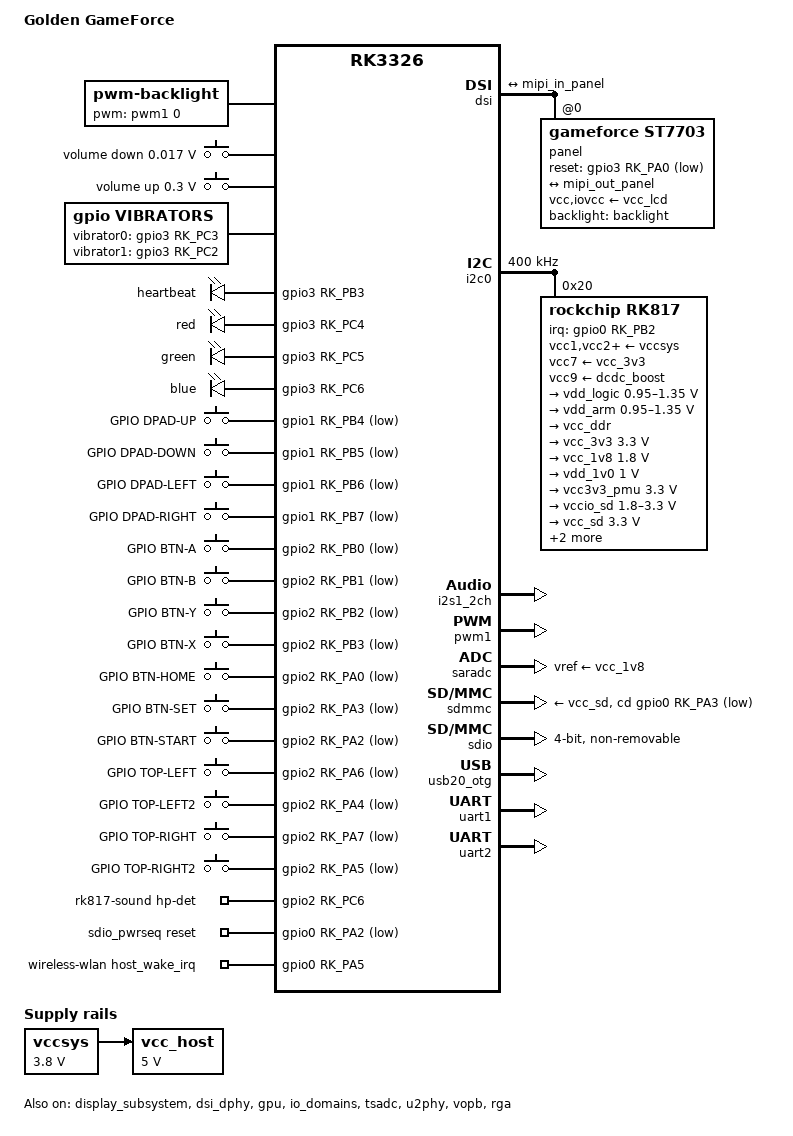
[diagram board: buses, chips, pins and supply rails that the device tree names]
// SPDX-License-Identifier: (GPL-2.0+ OR MIT)
/*
 * Copyright (c) 2020 Hardkernel Co., Ltd
 */

/dts-v1/;
#include <dt-bindings/gpio/gpio.h>
#include <dt-bindings/input/input.h>
#include <dt-bindings/pinctrl/rockchip.h>
#include "rockchip/rk3326.dtsi"

/ {
	model = "Golden GameForce";
	compatible = "rockchip,rk3326-gameforce", "rockchip,rk3326";

	chosen {
		stdout-path = "serial2:115200n8";
	};

	backlight: backlight {
		compatible = "pwm-backlight";
		pwms = <&pwm1 0 25000 0>;
	};

	adc-keys {
		compatible = "adc-keys";
		//io-channels = <&saradc 2>;
		//io-channel-names = "buttons";
		//poll-interval = <100>;
		keyup-threshold-microvolt = <1800000>;

		vol-down-key {
			linux,code = <KEY_VOLUMEDOWN>;
			label = "volume down";
			press-threshold-microvolt = <17000>;
		};

		vol-up-key {
			linux,code = <KEY_VOLUMEUP>;
			label = "volume up";
			press-threshold-microvolt = <300000>;
		};
	};

    vibrators {
            compatible = "gpio,vibrators";
			vibrator0-gpio = <&gpio3 RK_PC3 GPIO_ACTIVE_HIGH>;
			vibrator1-gpio = <&gpio3 RK_PC2 GPIO_ACTIVE_HIGH>;
            status = "okay";
    };
    
    leds: gpio_leds {
		compatible = "gpio-leds";

		pinctrl-names = "led_pins";
		pinctrl-0 = <&led_pins>;

		heartbeat {
			label = "heartbeat";
			gpios = <&gpio3 RK_PB3 GPIO_ACTIVE_HIGH>;//bluetooth GPIO3_B3
			linux,default-trigger = "heartbeat";//heartbeat, rfkill0
		};

        red {
			label = "red";
			gpios = <&gpio3 RK_PC4 GPIO_ACTIVE_HIGH>;//GPIO3_C4
            default-state = "off";
        };
        
        green {
			label = "green";
			gpios = <&gpio3 RK_PC5 GPIO_ACTIVE_HIGH>;//GPIO3_C5
            default-state = "off";
        };

        blue {
			label = "blue";
			gpios = <&gpio3 RK_PC6 GPIO_ACTIVE_HIGH>;//GPIO3_C6
            default-state = "off";
        };
	};

	gpio-keys {
        compatible = "gpio-keys";
        /*
           - gameforce-gamepad sysfs list -
		   * for poll device interval(ms)
		   /sys/devices/platform/gameforce_gamepad/poll_interval [rw]
                   * for button-adc-fuzz
		   /sys/devices/platform/gameforce_gamepad/adc_fuzz [r]
                   * for button-adc-flat
		   /sys/devices/platform/gameforce_gamepad/adc_flat [r]

		   * for report control(1:enable, 0:disable)
		   /sys/devices/platform/gameforce_gamepad/enable [rw]
		   * for adc calibration value setup(1:current adcs value -> cal value)
		   /sys/devices/platform/gameforce_gamepad/adc_cal [rw]
        */

		/* gpio pincontrol setup */
        pinctrl-names = "default";
        pinctrl-0 = <&btn_pins>;

		/* JOY_X, JOY_Y Channel define */
		io-channel-names = "joy_x", "joy_y";
		io-channels = <&saradc 0>, <&saradc 1>;

		/* adc channel count */
		button-adc-count = <2>;

		/* adc calculate scale */
		button-adc-scale = <2>;

		/* adc deadzone range  */
		button-adc-deadzone = <20>;

		/*
		    joy-stick voltage range
		    /sys/devices/platform/ff288000.saradc/iio:device0
		    adc-x : in_voltage1_raw
		    adc-y : in_voltage2_raw

		    range calculate.
		    (adc raw max value - adc raw min value) * scale * 1.7515
		*/
		button-adc-x-range = <1800>;
		button-adc-y-range = <1800>;

		/*
		  specifies fuzz value that is used to filter noise from
		  the event stream.
		*/
		button-adc-fuzz = <32>;
		button-adc-flat = <32>;

		/* poll device interval (ms), adc read interval */
		poll-interval = <10>;

		/* gpio button auto repeat set value : default disable */
		/*
			autorepeat;
		*/

		/*
		      *** ODROIDGO2-Advance Switch layoout ***
		    |------------------------------------------------|
		    | sw12-L1                        sw15-R2         |
		    |        sw13-L2                        sw14-R1  |
		    |------------------------------------------------|
		    |     sw1-UP   |-------------------|      sw8-Y  |
		    |  sw3   sw4   |                   | sw7-X  A-sw5|
		    |     sw2      |    LCD Display    |      sw6-B  |
		    |              |                   |             |
		    |              |-------------------|             |
		    |                 sw9-HOME   SET-sw10 sw11-START|
		    |------------------------------------------------|
		    */
            /*
                    joypad driver is poll-device driver.
                    poll-device is does not support wakeup-source.
		*/
                sw1 {
                        gpios = <&gpio1 RK_PB4 GPIO_ACTIVE_LOW>;
                        label = "GPIO DPAD-UP";
                        linux,code = <BTN_DPAD_UP>; // 0x220
                };
                sw2 {
                        gpios = <&gpio1 RK_PB5 GPIO_ACTIVE_LOW>;
                        label = "GPIO DPAD-DOWN";
                        linux,code = <BTN_DPAD_DOWN>; // 0x221
                };
                sw3 {
                        gpios = <&gpio1 RK_PB6 GPIO_ACTIVE_LOW>;
                        label = "GPIO DPAD-LEFT";
                        linux,code = <BTN_DPAD_LEFT>; // 0x222
                };
                sw4 {
                        gpios = <&gpio1 RK_PB7 GPIO_ACTIVE_LOW>;
                        label = "GPIO DPAD-RIGHT";
                        linux,code = <BTN_DPAD_RIGHT>; // 0x223
                };
                sw5 {
                        gpios = <&gpio2 RK_PB0 GPIO_ACTIVE_LOW>;
                        label = "GPIO BTN-A";
                        linux,code = <BTN_EAST>; // 0x131
                };
                sw6 {
                        gpios = <&gpio2 RK_PB1 GPIO_ACTIVE_LOW>;
                        label = "GPIO BTN-B";
                        linux,code = <BTN_SOUTH>; // 0x130
                };
                sw7 {
                        gpios = <&gpio2 RK_PB2 GPIO_ACTIVE_LOW>;
                        label = "GPIO BTN-Y";
                        linux,code = <BTN_WEST>; // 0x134
                };
                sw8 {
                        gpios = <&gpio2 RK_PB3 GPIO_ACTIVE_LOW>;
                        label = "GPIO BTN-X";
                        linux,code = <BTN_NORTH>; // 0x133
                };
                sw9 {
                        gpios = <&gpio2 RK_PA0 GPIO_ACTIVE_LOW>;
                        label = "GPIO BTN-HOME";
                        linux,code = <BTN_TRIGGER_HAPPY1>; // 0x2c0
                };
                sw10 {
                        gpios = <&gpio2 RK_PA3 GPIO_ACTIVE_LOW>;
                        label = "GPIO BTN-SET";
                        linux,code = <BTN_SELECT>; // 0x13a
                };
                sw11 {
                        gpios = <&gpio2 RK_PA2 GPIO_ACTIVE_LOW>;
                        label = "GPIO BTN-START";
                        linux,code = <BTN_START>; // 0x13b
                };
                sw12 {
                        gpios = <&gpio2 RK_PA6 GPIO_ACTIVE_LOW>;
                        label = "GPIO TOP-LEFT";
                        linux,code = <BTN_TL>;// 0x136
                };
                sw13 {
                        gpios = <&gpio2 RK_PA4 GPIO_ACTIVE_LOW>;
                        label = "GPIO TOP-LEFT2";
                        linux,code = <BTN_TL2>;// 0x138
                };
                sw14 {
                        gpios = <&gpio2 RK_PA7 GPIO_ACTIVE_LOW>;
                        label = "GPIO TOP-RIGHT";
                        linux,code = <BTN_TR>;// 0x137
                };
                sw15 {
                        gpios = <&gpio2 RK_PA5 GPIO_ACTIVE_LOW>;
                        label = "GPIO TOP-RIGHT2";
                        linux,code = <BTN_TR2>;// 0x139
                };
        };


	charge-animation {
		compatible = "rockchip,uboot-charge";
		rockchip,uboot-charge-on = <1>;
		rockchip,android-charge-on = <0>;
		rockchip,uboot-low-power-voltage = <3500>;
		rockchip,screen-on-voltage = <3600>;
		status = "okay";
	};

	rk817-sound {
		status = "okay";
		compatible = "simple-audio-card";
		simple-audio-card,name = "Analog";
		simple-audio-card,format = "i2s";
		simple-audio-card,mclk-fs = <256>;
		simple-audio-card,widgets =
			"Microphone", "Mic Jack",
			"Headphone", "Headphones",
			"Speaker", "Speaker";
		simple-audio-card,routing =
			"MICL", "Mic Jack",
			"Headphones", "HPOL",
			"Headphones", "HPOR",
			"Speaker", "SPKO";
		simple-audio-card,hp-det-gpio = <&gpio2 RK_PC6 GPIO_ACTIVE_HIGH>;

		simple-audio-card,cpu {
			sound-dai = <&i2s1_2ch>;
		};
		simple-audio-card,codec {
			sound-dai = <&rk817>;
		};
	};

/*
	rk_headset {
		compatible = "rockchip_headset";
		headset_gpio = <&gpio2 RK_PC6 GPIO_ACTIVE_LOW>;
		pinctrl-names = "default";
		pinctrl-0 = <&hp_det>;
	};
*/
	sdio_pwrseq: sdio-pwrseq {
		compatible = "mmc-pwrseq-simple";
		/*clocks = <&rk817 1>;*/
		/*clock-names = "ext_clock";*/
		pinctrl-names = "default";
		pinctrl-0 = <&wifi_enable_h>;

		/*
		 * On the module itself this is one of these (depending
		 * on the actual card populated):
		 * - SDIO_RESET_L_WL_REG_ON
		 * - PDN (power down when low)
		 */
		reset-gpios = <&gpio0 RK_PA2 GPIO_ACTIVE_LOW>; /* GPIO3_A4 */
	};

	vccsys: vccsys {
		compatible = "regulator-fixed";
		regulator-name = "vcc3v8_sys";
		regulator-always-on;
		regulator-min-microvolt = <3800000>;
		regulator-max-microvolt = <3800000>;
	};

	vcc_host: vcc_host {
		compatible = "regulator-fixed";
		regulator-name = "vcc_host";
		regulator-min-microvolt = <5000000>;
		regulator-max-microvolt = <5000000>;

		//gpio = <&gpio0 RK_PB7 GPIO_ACTIVE_HIGH>;
		enable-active-high;
		regulator-always-on;
		vin-supply = <&vccsys>;
	};

	wireless-wlan {
		compatible = "wlan-platdata";
                rockchip,grf = <&grf>;
		wifi_chip_type = "rtl8723ds";
		WIFI,host_wake_irq = <&gpio0 RK_PA5 GPIO_ACTIVE_HIGH>;
                sdio_vref = <3300>; //1800mv or 3300mv
		status = "okay";
	};

	/* TODO
	wireless-bluetooth {
		compatible = "bluetooth-platdata";
		clocks = <&rk817 1>;
		clock-names = "ext_clock";
		uart_rts_gpios = <&gpio1 RK_PC3 GPIO_ACTIVE_LOW>;
		pinctrl-names = "default","rts_gpio";
		pinctrl-0 = <&uart1_rts>;
		pinctrl-1 = <&uart1_rts_gpio>;
		BT,reset_gpio = <&gpio0 RK_PA0 GPIO_ACTIVE_HIGH>;
		BT,wake_gpio = <&gpio0 RK_PA1 GPIO_ACTIVE_HIGH>;
		BT,wake_host_irq = <&gpio0 RK_PA7 GPIO_ACTIVE_HIGH>;
		status = "okay";
	};*/
};

&cpu0 {
	cpu-supply = <&vdd_arm>;
};

&cpu1 {
	cpu-supply = <&vdd_arm>;
};

&cpu2 {
	cpu-supply = <&vdd_arm>;
};

&cpu3 {
	cpu-supply = <&vdd_arm>;
};

&cru {
	assigned-clocks = <&cru PLL_NPLL>,
		<&cru ACLK_BUS_PRE>, <&cru ACLK_PERI_PRE>,
		<&cru HCLK_BUS_PRE>, <&cru HCLK_PERI_PRE>,
		<&cru PCLK_BUS_PRE>, <&cru SCLK_GPU>,
		<&cru PLL_CPLL>;

	assigned-clock-rates = <1188000000>,
		<200000000>, <200000000>,
		<150000000>, <150000000>,
		<100000000>, <200000000>,
		<17000000>;
};

&display_subsystem {
	status = "okay";
};

&dsi {
	status = "okay";

	ports {
		mipi_out: port@1 {
			reg = <1>;

			mipi_out_panel: endpoint {
				remote-endpoint = <&mipi_in_panel>;
			};
		};
	};

	panel@0 {
		compatible = "gameforce,st7703";
		reg = <0>;
		backlight = <&backlight>;
		vcc-supply = <&vcc_lcd>;
		iovcc-supply = <&vcc_lcd>;
		reset-gpios = <&gpio3 RK_PA0 GPIO_ACTIVE_LOW>;//LCD_RST
		rotation = <0>;
		port {
			mipi_in_panel: endpoint {
				remote-endpoint = <&mipi_out_panel>;
			};
		};
	};
};

&dsi_dphy {
	status = "okay";
};

&gpu {
	mali-supply = <&vdd_logic>;
	status = "okay";
};

&i2c0 {
	clock-frequency = <400000>;
	i2c-scl-falling-time-ns = <16>;
	i2c-scl-rising-time-ns = <280>;
	status = "okay";

	rk817: pmic@20 {
		compatible = "rockchip,rk817";
		reg = <0x20>;
		interrupt-parent = <&gpio0>;
		interrupts = <RK_PB2 IRQ_TYPE_LEVEL_LOW>;
		clock-names = "mclk";
		clocks = <&cru SCLK_I2S1_OUT>;
		pinctrl-names = "default", "pmic-sleep",
				"pmic-power-off", "pmic-reset";
		pinctrl-0 = <&pmic_int>, <&i2s1_2ch_mclk>;
		pinctrl-1 = <&soc_slppin_slp>, <&rk817_slppin_slp>;
		pinctrl-2 = <&soc_slppin_gpio>, <&rk817_slppin_pwrdn>;
		pinctrl-3 = <&soc_slppin_rst>, <&rk817_slppin_rst>;
		rockchip,system-power-controller;
		wakeup-source;
		#clock-cells = <1>;
		clock-output-names = "rk808-clkout1", "rk808-clkout2";
		//fb-inner-reg-idxs = <2>;

		/* 1: rst regs (default in codes), 0: rst the pmic */
		pmic-reset-func = <1>;
		#sound-dai-cells = <0>;

		vcc1-supply = <&vccsys>;
		vcc2-supply = <&vccsys>;
		vcc3-supply = <&vccsys>;
		vcc4-supply = <&vccsys>;
		vcc5-supply = <&vccsys>;
		vcc6-supply = <&vccsys>;
		vcc7-supply = <&vcc_3v3>;
		vcc8-supply = <&vccsys>;
		vcc9-supply = <&dcdc_boost>;

		pwrkey {
			status = "okay";
		};

		pinctrl_rk8xx: pinctrl_rk8xx {
			gpio-controller;
			#gpio-cells = <2>;

			rk817_ts_gpio1: rk817_ts_gpio1 {
				pins = "gpio_ts";
				function = "pin_fun1";
				// output-low;
				// input-enable;
			};

			rk817_gt_gpio2: rk817_gt_gpio2 {
				pins = "gpio_gt";
				function = "pin_fun1";
			};

			rk817_pin_ts: rk817_pin_ts {
				pins = "gpio_ts";
				function = "pin_fun0";
			};

			rk817_pin_gt: rk817_pin_gt {
				pins = "gpio_gt";
				function = "pin_fun0";
			};

			rk817_slppin_null: rk817_slppin_null {
				pins = "gpio_slp";
				function = "pin_fun0";
			};

			rk817_slppin_slp: rk817_slppin_slp {
				pins = "gpio_slp";
				function = "pin_fun1";
			};

			rk817_slppin_pwrdn: rk817_slppin_pwrdn {
				pins = "gpio_slp";
				function = "pin_fun2";
			};

			rk817_slppin_rst: rk817_slppin_rst {
				pins = "gpio_slp";
				function = "pin_fun3";
			};
		};

		regulators {
			vdd_logic: DCDC_REG1 {
				regulator-name = "vdd_logic";
				regulator-min-microvolt = <950000>;
				regulator-max-microvolt = <1350000>;
				regulator-ramp-delay = <6001>;
				regulator-always-on;
				regulator-boot-on;

				regulator-state-mem {
					regulator-on-in-suspend;
					regulator-suspend-microvolt = <950000>;
				};
			};

			vdd_arm: DCDC_REG2 {
				regulator-name = "vdd_arm";
				regulator-min-microvolt = <950000>;
				regulator-max-microvolt = <1350000>;
				regulator-ramp-delay = <6001>;
				regulator-always-on;
				regulator-boot-on;

				regulator-state-mem {
					regulator-off-in-suspend;
					regulator-suspend-microvolt = <950000>;
				};
			};

			vcc_ddr: DCDC_REG3 {
				regulator-name = "vcc_ddr";
				regulator-always-on;
				regulator-boot-on;

				regulator-state-mem {
					regulator-on-in-suspend;
				};
			};

			vcc_3v3: DCDC_REG4 {
				regulator-name = "vcc_3v3";
				regulator-min-microvolt = <3300000>;
				regulator-max-microvolt = <3300000>;
				regulator-always-on;
				regulator-boot-on;

				regulator-state-mem {
					regulator-off-in-suspend;
					regulator-suspend-microvolt = <3300000>;
				};
			};

			vcc_1v8: LDO_REG2 {
				regulator-name = "vcc_1v8";
				regulator-min-microvolt = <1800000>;
				regulator-max-microvolt = <1800000>;
				regulator-always-on;
				regulator-boot-on;

				regulator-state-mem {
					regulator-on-in-suspend;
					regulator-suspend-microvolt = <1800000>;
				};
			};

			vdd_1v0: LDO_REG3 {
				regulator-name = "vdd_1v0";
				regulator-min-microvolt = <1000000>;
				regulator-max-microvolt = <1000000>;
				regulator-always-on;
				regulator-boot-on;

				regulator-state-mem {
					regulator-on-in-suspend;
					regulator-suspend-microvolt = <1000000>;
				};
			};

			vcc3v3_pmu: LDO_REG4 {
				regulator-name = "vcc3v3_pmu";
				regulator-min-microvolt = <3300000>;
				regulator-max-microvolt = <3300000>;
				regulator-always-on;
				regulator-boot-on;

				regulator-state-mem {
					regulator-on-in-suspend;
					regulator-suspend-microvolt = <3300000>;
				};
			};

			vccio_sd: LDO_REG5 {
				regulator-name = "vccio_sd";
				regulator-min-microvolt = <1800000>;
				regulator-max-microvolt = <3300000>;
				regulator-always-on;
				regulator-boot-on;

				regulator-state-mem {
					regulator-on-in-suspend;
					regulator-suspend-microvolt = <3300000>;
				};
			};

			vcc_sd: LDO_REG6 {
				regulator-name = "vcc_sd";
				regulator-min-microvolt = <3300000>;
				regulator-max-microvolt = <3300000>;
				regulator-boot-on;

				regulator-state-mem {
					regulator-on-in-suspend;
					regulator-suspend-microvolt = <3300000>;
				};
			};

			vcc_bl: LDO_REG7 {
				regulator-name = "vcc_bl";
				regulator-min-microvolt = <3300000>;
				regulator-max-microvolt = <3300000>;

				regulator-state-mem {
					regulator-off-in-suspend;
					regulator-suspend-microvolt = <3300000>;
				};
			};

			vcc_lcd: LDO_REG8 {
				regulator-name = "vcc_lcd";
				regulator-min-microvolt = <2800000>;
				regulator-max-microvolt = <2800000>;

				regulator-state-mem {
					regulator-off-in-suspend;
					regulator-suspend-microvolt = <2800000>;
				};
			};

			/* Rev 1.1 WIFI Power not use*/
			vcc_wifi: LDO_REG9 {
				regulator-always-on;
				regulator-boot-on;
				regulator-min-microvolt = <3300000>;
				regulator-max-microvolt = <3300000>;

				regulator-name = "vcc_wifi";
				regulator-state-mem {
					regulator-off-in-suspend;
					regulator-suspend-microvolt = <3300000>;
				};
			};

			dcdc_boost: BOOST {
				regulator-always-on;
				regulator-boot-on;
				regulator-min-microvolt = <5000000>;
				regulator-max-microvolt = <5400000>;
				regulator-name = "boost";
			};

			otg_switch: OTG_SWITCH {
				regulator-boot-on;
				regulator-name = "otg_switch";
			};
		};

		battery {
			compatible = "rk817,battery";
			ocv_table = <3400 3625 3685 3697 3718 3735 3748
			3760 3774 3788 3802 3816 3834 3853
			3877 3908 3946 3975 4018 4071 4106>;

			/* KPL605475 Battery Spec */
			/*
				Capacity : 3.7V 3000mA
				Normal Voltage = 3.7V
				Cut-Off Voltage : 3.1V
				Internal Impedance : 180 mOhm
				Charging Voltage : 4.2V
				Charging Voltage Max : 4.25V
				Sample resister : 10 mohm
			*/
			design_capacity = <3000>;
			design_qmax = <3300>;
			bat_res = <150>;
			sleep_enter_current = <300>;
			sleep_exit_current = <300>;
			sleep_filter_current = <100>;
			power_off_thresd = <3400>;
			zero_algorithm_vol = <3850>;
			max_soc_offset = <60>;
			monitor_sec = <5>;
			virtual_power = <0>;
			sample_res = <10>;
		};

		charger {
			compatible = "rk817,charger";
			min_input_voltage = <4500>;
			max_input_current = <1500>;
			max_chrg_current = <1500>;
			max_chrg_voltage = <4200>;
			chrg_term_mode = <0>;
			chrg_finish_cur = <300>;
			virtual_power = <0>;
			sample_res = <10>;

			/* P.C.B rev0.2 DC Detect & Charger Status LED GPIO */
			//dc_det_gpio  = <&gpio0 RK_PB3 GPIO_ACTIVE_HIGH>;
			chg_led_gpio = <&gpio3 RK_PB2 GPIO_ACTIVE_HIGH>;

			extcon = <&u2phy>;
		};

		rk817_codec: codec {
			rockchip,mic-in-differential;
			/*compatible = "rockchip,rk817";
			clocks = <&cru SCLK_I2S1_OUT>;
			clock-names = "mclk";
			pinctrl-names = "default";
			pinctrl-0 = <&i2s1_2ch_mclk &spk_ctl>;
			spk-ctl-gpios = <&gpio2 RK_PB5 GPIO_ACTIVE_HIGH>;
			use-ext-amplifier;
			hp-volume = <3>;//255-0
			spk-volume = <3>;//255-0
			status = "okay";*/
		};
	};
};

&i2c1 {
	status = "disabled";
	clock-frequency = <400000>;
};

/* MIPI CSI I2C */
&i2c2 {
	status = "disabled";
};

/* I2S 1 Channel Used */
&i2s1_2ch {
	status = "okay";
	#sound-dai-cells = <0>;
};

&io_domains {
	vccio1-supply = <&vcc3v3_pmu>;
	vccio2-supply = <&vccio_sd>;
	vccio3-supply = <&vcc_3v3>;
	vccio4-supply = <&vcc_3v3>;
	vccio5-supply = <&vcc_3v3>;
	vccio6-supply = <&vcc_3v3>;
	status = "okay";
};

&pmu_io_domains {
	pmuio1-supply = <&vcc_1v8>;
	pmuio2-supply = <&vcc3v3_pmu>;
	status = "okay";
};

/* LCD Backlight PWM */
&pwm1 {
	status = "okay";
};

&saradc {
	vref-supply = <&vcc_1v8>;
	status = "okay";
};

&sdmmc {
	cap-sd-highspeed;
	card-detect-delay = <800>;
	cd-gpios = <&gpio0 RK_PA3 GPIO_ACTIVE_LOW>; /*[> CD GPIO <]*/
	sd-uhs-sdr12;
	sd-uhs-sdr25;
	sd-uhs-sdr50;
	sd-uhs-sdr104;
	vmmc-supply = <&vcc_sd>;
	vqmmc-supply = <&vccio_sd>;
	status = "okay";
};

&sdio {
	bus-width = <4>;
	cap-sd-highspeed;
	cap-sdio-irq;
	disable-wp;
	supports-sdio;
	ignore-pm-notify;
	keep-power-in-suspend;
	non-removable;
	mmc-pwrseq = <&sdio_pwrseq>;
	sd-uhs-sdr104;
	status = "okay";
};

&tsadc {
	status = "okay";
};

&u2phy {
	status = "okay";

	u2phy_host: host-port {
		status = "okay";
	};

	u2phy_otg: otg-port {
		//status = "okay";
		status = "disabled";
	};
};

&usb20_otg {
	status = "okay";
};

/* EXT Header(P2): 2(RXD:GPIO1.C0),3(TXD:.C1),4(CTS:.C2),5(RTS:.C3) */
&uart1 {
	pinctrl-names = "default";
	pinctrl-0 = <&uart1_xfer &uart1_cts>;
	status = "okay";
};

&uart2 {
	pinctrl-names = "default";
	pinctrl-0 = <&uart2m1_xfer>;
	status = "okay";
};

&vopb {
	status = "okay";
};

&vopb_mmu {
	status = "okay";
};

&rga {
	status = "okay";
};

&pinctrl {
	btns {
		btn_pins: btn-pins {
			rockchip,pins = <1 RK_PB4 RK_FUNC_GPIO &pcfg_pull_up>,
					<1 RK_PB5 RK_FUNC_GPIO &pcfg_pull_up>,
					<1 RK_PB6 RK_FUNC_GPIO &pcfg_pull_up>,
					<1 RK_PB7 RK_FUNC_GPIO &pcfg_pull_up>,
					<2 RK_PB0 RK_FUNC_GPIO &pcfg_pull_up>,
					<2 RK_PB1 RK_FUNC_GPIO &pcfg_pull_up>,
					<2 RK_PB2 RK_FUNC_GPIO &pcfg_pull_up>,
					<2 RK_PB3 RK_FUNC_GPIO &pcfg_pull_up>,

					<2 RK_PA0 RK_FUNC_GPIO &pcfg_pull_up>,
					<2 RK_PA2 RK_FUNC_GPIO &pcfg_pull_up>,
					<2 RK_PA3 RK_FUNC_GPIO &pcfg_pull_up>,
					<2 RK_PA4 RK_FUNC_GPIO &pcfg_pull_up>,
					<2 RK_PA5 RK_FUNC_GPIO &pcfg_pull_up>,
					<2 RK_PA6 RK_FUNC_GPIO &pcfg_pull_up>,
					<2 RK_PA7 RK_FUNC_GPIO &pcfg_pull_up>;
		};
	};

	headphone {
		//Low : HeadPhone remove, High : HeadPhone insert
		phone_det: phone_det {
			rockchip,pins = <2 RK_PC6 RK_FUNC_GPIO &pcfg_pull_up>;
		};
	};
	
    leds {
		led_pins: led-pins {
			rockchip,pins = <3 RK_PB3 RK_FUNC_GPIO &pcfg_pull_none>,
			<3 RK_PC4 RK_FUNC_GPIO &pcfg_pull_none>,
			<3 RK_PC5 RK_FUNC_GPIO &pcfg_pull_none>,
			<3 RK_PC6 RK_FUNC_GPIO &pcfg_pull_none>;
		};
	};
	
    speaker {
        spk_ctl: spk_ctl {
            rockchip,pins = <2 RK_PB5 RK_FUNC_GPIO &pcfg_pull_none>;
        };
    };
	pmic {
		dc_det: dc-det {
			rockchip,pins = <0 RK_PB3 RK_FUNC_GPIO &pcfg_pull_none>;
		};

		pmic_int: pmic-int {
			rockchip,pins = <0 RK_PB2 RK_FUNC_GPIO &pcfg_pull_up>;
		};

		soc_slppin_gpio: soc_slppin_gpio {
			rockchip,pins = <0 RK_PA4 RK_FUNC_GPIO &pcfg_output_low>;
		};

		soc_slppin_rst: soc_slppin_rst {
			rockchip,pins = <0 RK_PA4 2 &pcfg_pull_none>;
		};

		soc_slppin_slp: soc_slppin_slp {
			rockchip,pins = <0 RK_PA4 1 &pcfg_pull_none>;
		};
	};

	
	sdio-pwrseq {
		wifi_enable_h: wifi-enable-h {
			rockchip,pins = <0 RK_PA2 RK_FUNC_GPIO &pcfg_pull_none>;
		};
	};
};

/* DON'T PUT ANYTHING BELOW HERE.  PUT IT ABOVE PINCTRL */
/* DON'T PUT ANYTHING BELOW HERE.  PUT IT ABOVE PINCTRL */
/* DON'T PUT ANYTHING BELOW HERE.  PUT IT ABOVE PINCTRL */
